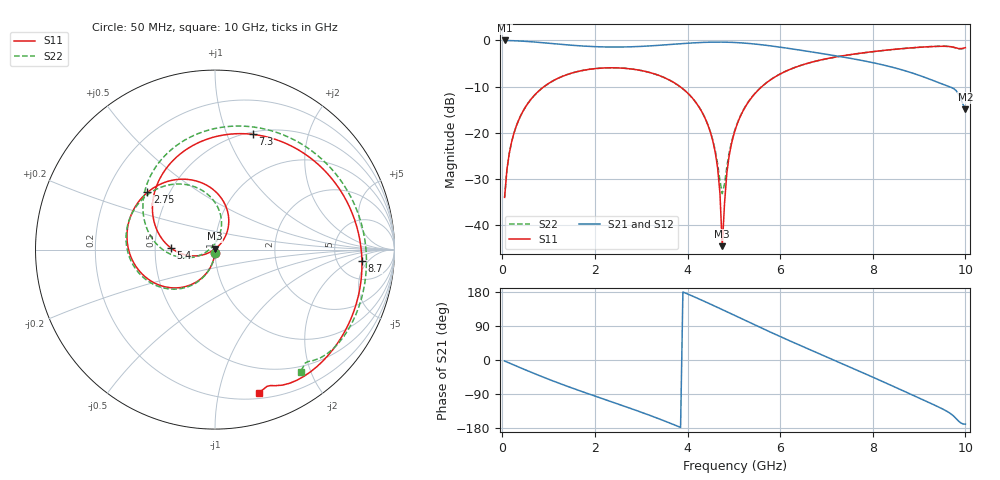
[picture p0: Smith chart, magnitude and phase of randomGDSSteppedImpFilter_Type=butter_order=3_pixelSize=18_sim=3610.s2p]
! freq	dB(S11)	phase(S11)	dB(S12)	phase(S12)
!  dB(S21)	phase(S21)	dB(S22)	phase(S22)
!S-par simulation data
#  GHz  S  DB  R 50
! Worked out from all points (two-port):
!   200 points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, 50 MHz to 10 GHz, reference 50 ohm
!   highest |S21| = 0.00 dB at 50 MHz (marker M1); lowest = -14.9 dB at 10 GHz (marker M2)
!   |S21| within 3 dB of the highest: start of sweep to 7.003 GHz
!   lowest |S11| = -44.6 dB at 4.75 GHz (marker M3), VSWR 1.01, Z = 49.8 + j0.56 ohm
!   |S11| at or under -10 dB: start of sweep to 902.4 MHz; 3.837 GHz to 5.605 GHz (1.768 GHz wide, 37.5 % of centre)
!   |S22| runs from -34.0 to -1.3 dB; largest |S21 - S12| = 0
!   S11 on the Smith chart (normalised r, x): 50 MHz: 1.00, -0.04; 2.75 GHz: 0.38, +0.32; 5.4 GHz: 0.60, +0.01; 7.3 GHz: 0.52, +1.24; 8.7 GHz: 8.89, -3.35; 10 GHz: 0.25, -1.32
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0.05  -34.00 -92.8  -0.00 -2.7  -0.00 -2.7  -34.00 -92.7
0.2  -22.04 -101.2  -0.05 -10.6  -0.05 -10.6  -22.04 -100.9
0.5  -14.43 -117.2  -0.20 -26.1  -0.20 -26.1  -14.42 -116.3
1.1  -8.72 -147.1  -0.70 -55.5  -0.70 -55.5  -8.72 -145.0
1.75  -6.47 -176.9  -1.22 -84.5  -1.22 -84.5  -6.47 -173.4
2.75  -6.14 139.7  -1.39 -126.9  -1.39 -126.9  -6.14 145.7
3.4  -7.65 109.9  -1.04 -156.0  -1.04 -156.0  -7.65 118.2
4.05  -11.88 76.9  -0.57 171.7  -0.57 171.7  -11.87 88.9
4.45  -18.60 55.3  -0.39 150.0  -0.39 150.0  -18.51 73.5
4.65  -27.64 45.9  -0.36 138.7  -0.36 138.7  -26.75 80.2
4.7  -33.13 46.2  -0.36 135.9  -0.36 135.9  -30.38 95.4
4.75  -44.57 108.1  -0.36 133.0  -0.36 133.0  -33.20 132.6
4.85  -28.61 -152.9  -0.38 127.3  -0.38 127.3  -27.27 -168.2
5.05  -18.75 -162.2  -0.46 115.7  -0.46 115.7  -18.56 -160.0
5.4  -12.17 177.8  -0.72 95.6  -0.72 95.6  -12.12 -173.8
6.05  -7.01 140.6  -1.53 59.2  -1.53 59.2  -7.01 153.6
6.7  -4.66 104.5  -2.52 24.2  -2.52 24.2  -4.67 120.7
7.3  -3.41 71.9  -3.50 -7.6  -3.50 -7.6  -3.43 90.4
8.35  -2.04 14.9  -5.62 -64.4  -5.62 -64.4  -2.05 34.9
8.7  -1.71 -4.3  -6.58 -83.7  -6.58 -83.7  -1.72 15.5
9.3  -1.32 -37.6  -8.67 -117.1  -8.67 -117.1  -1.30 -18.9
10  -1.57 -72.9  -14.92 -169.4  -14.92 -169.4  -1.61 -55.0
